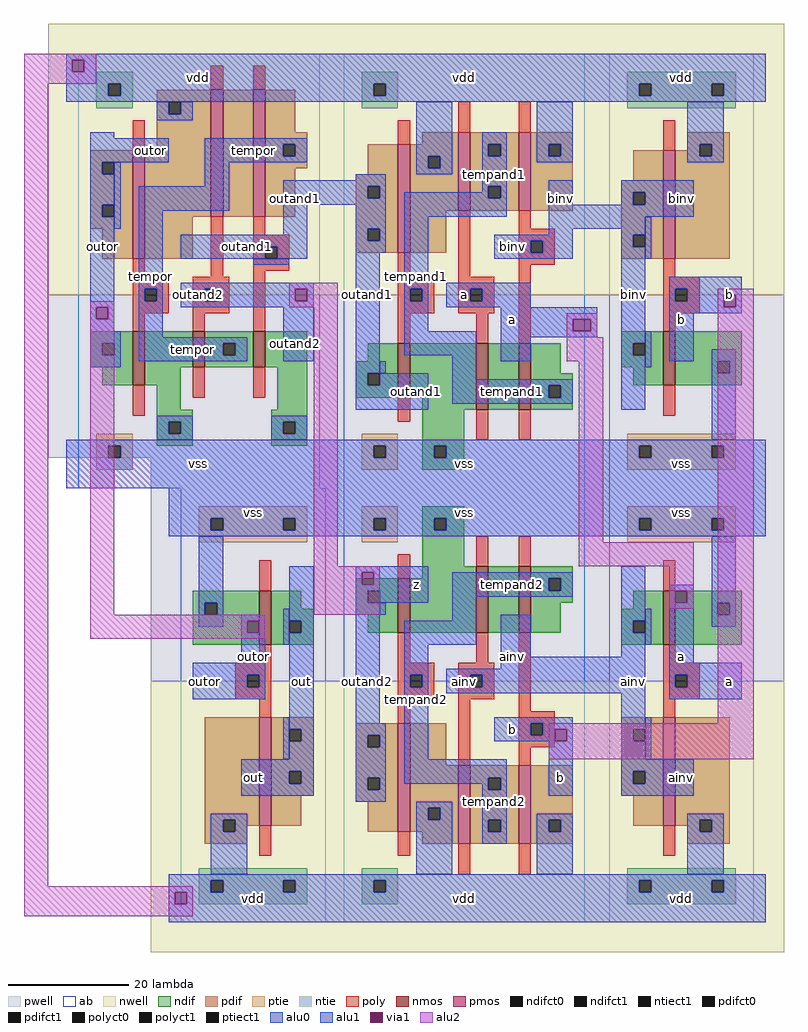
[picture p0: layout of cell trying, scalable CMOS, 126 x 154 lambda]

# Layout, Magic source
magic
tech scmos
<< ab >>
rect -39 5 1 77
rect -22 -67 2 5
rect 5 -67 45 77
rect 49 -67 73 77
<< nwell >>
rect -44 37 78 82
rect -27 -72 78 -27
<< pwell >>
rect -44 10 78 37
rect -27 -27 78 10
<< poly >>
rect -17 71 -15 75
rect -10 71 -8 75
rect -30 61 -28 66
rect 14 62 16 66
rect 24 64 26 69
rect 34 64 36 69
rect -30 40 -28 43
rect -17 40 -15 50
rect -10 47 -8 50
rect -10 45 -4 47
rect -10 43 -8 45
rect -6 43 -4 45
rect 58 61 60 66
rect -10 41 -4 43
rect -30 38 -24 40
rect -30 36 -28 38
rect -26 36 -24 38
rect -30 34 -24 36
rect -20 38 -14 40
rect -20 36 -18 38
rect -16 36 -14 38
rect -20 34 -14 36
rect -30 31 -28 34
rect -20 31 -18 34
rect -10 31 -8 41
rect 14 40 16 44
rect 24 40 26 51
rect 34 48 36 51
rect 34 46 40 48
rect 34 44 36 46
rect 38 44 40 46
rect 34 42 40 44
rect 14 38 20 40
rect 14 36 16 38
rect 18 36 20 38
rect 14 34 20 36
rect 24 38 30 40
rect 24 36 26 38
rect 28 36 30 38
rect 24 34 30 36
rect 14 29 16 34
rect 27 29 29 34
rect 34 29 36 42
rect 58 40 60 43
rect 58 38 64 40
rect 58 36 60 38
rect 62 36 64 38
rect 58 34 64 36
rect 58 31 60 34
rect -30 17 -28 22
rect -20 20 -18 25
rect -10 20 -8 25
rect 14 16 16 20
rect 27 13 29 18
rect 34 13 36 18
rect 58 17 60 22
rect -9 -12 -7 -7
rect 14 -10 16 -6
rect 27 -8 29 -3
rect 34 -8 36 -3
rect 58 -12 60 -7
rect -9 -24 -7 -21
rect -13 -26 -7 -24
rect -13 -28 -11 -26
rect -9 -28 -7 -26
rect -13 -30 -7 -28
rect -9 -33 -7 -30
rect 14 -24 16 -19
rect 27 -24 29 -19
rect 14 -26 20 -24
rect 14 -28 16 -26
rect 18 -28 20 -26
rect 14 -30 20 -28
rect 24 -26 30 -24
rect 24 -28 26 -26
rect 28 -28 30 -26
rect 24 -30 30 -28
rect 14 -34 16 -30
rect -9 -56 -7 -51
rect 24 -41 26 -30
rect 34 -32 36 -19
rect 58 -24 60 -21
rect 58 -26 64 -24
rect 58 -28 60 -26
rect 62 -28 64 -26
rect 58 -30 64 -28
rect 34 -34 40 -32
rect 58 -33 60 -30
rect 34 -36 36 -34
rect 38 -36 40 -34
rect 34 -38 40 -36
rect 34 -41 36 -38
rect 14 -56 16 -52
rect 24 -59 26 -54
rect 34 -59 36 -54
rect 58 -56 60 -51
<< ndif >>
rect -37 29 -30 31
rect -37 27 -35 29
rect -33 27 -30 29
rect -37 25 -30 27
rect -35 22 -30 25
rect -28 25 -20 31
rect -18 29 -10 31
rect -18 27 -15 29
rect -13 27 -10 29
rect -18 25 -10 27
rect -8 25 -1 31
rect 51 29 58 31
rect 9 26 14 29
rect -28 22 -22 25
rect -26 18 -22 22
rect -6 18 -1 25
rect 7 24 14 26
rect 7 22 9 24
rect 11 22 14 24
rect 7 20 14 22
rect 16 20 27 29
rect -26 16 -20 18
rect -26 14 -24 16
rect -22 14 -20 16
rect -26 12 -20 14
rect -7 16 -1 18
rect 18 18 27 20
rect 29 18 34 29
rect 36 24 41 29
rect 51 27 53 29
rect 55 27 58 29
rect 51 25 58 27
rect 36 22 43 24
rect 53 22 58 25
rect 60 26 71 31
rect 60 24 67 26
rect 69 24 71 26
rect 60 22 71 24
rect 36 20 39 22
rect 41 20 43 22
rect 36 18 43 20
rect -7 14 -5 16
rect -3 14 -1 16
rect -7 12 -1 14
rect 18 12 25 18
rect 18 10 20 12
rect 22 10 25 12
rect 18 8 25 10
rect 18 0 25 2
rect 18 -2 20 0
rect 22 -2 25 0
rect 18 -8 25 -2
rect 18 -10 27 -8
rect 7 -12 14 -10
rect -20 -14 -9 -12
rect -20 -16 -18 -14
rect -16 -16 -9 -14
rect -20 -21 -9 -16
rect -7 -15 -2 -12
rect 7 -14 9 -12
rect 11 -14 14 -12
rect -7 -17 0 -15
rect 7 -16 14 -14
rect -7 -19 -4 -17
rect -2 -19 0 -17
rect 9 -19 14 -16
rect 16 -19 27 -10
rect 29 -19 34 -8
rect 36 -10 43 -8
rect 36 -12 39 -10
rect 41 -12 43 -10
rect 36 -14 43 -12
rect 36 -19 41 -14
rect 53 -15 58 -12
rect 51 -17 58 -15
rect 51 -19 53 -17
rect 55 -19 58 -17
rect -7 -21 0 -19
rect 51 -21 58 -19
rect 60 -14 71 -12
rect 60 -16 67 -14
rect 69 -16 71 -14
rect 60 -21 71 -16
<< pdif >>
rect -26 69 -17 71
rect -26 67 -24 69
rect -22 67 -17 69
rect -26 61 -17 67
rect -37 59 -30 61
rect -37 57 -35 59
rect -33 57 -30 59
rect -37 52 -30 57
rect -37 50 -35 52
rect -33 50 -30 52
rect -37 48 -30 50
rect -35 43 -30 48
rect -28 50 -17 61
rect -15 50 -10 71
rect -8 64 -3 71
rect -8 62 -1 64
rect 18 62 24 64
rect -8 60 -5 62
rect -3 60 -1 62
rect -8 58 -1 60
rect -8 50 -3 58
rect 9 57 14 62
rect 7 55 14 57
rect 7 53 9 55
rect 11 53 14 55
rect -28 43 -20 50
rect 7 48 14 53
rect 7 46 9 48
rect 11 46 14 48
rect 7 44 14 46
rect 16 60 24 62
rect 16 58 19 60
rect 21 58 24 60
rect 16 51 24 58
rect 26 62 34 64
rect 26 60 29 62
rect 31 60 34 62
rect 26 55 34 60
rect 26 53 29 55
rect 31 53 34 55
rect 26 51 34 53
rect 36 62 43 64
rect 36 60 39 62
rect 41 60 43 62
rect 62 62 69 64
rect 62 61 64 62
rect 36 51 43 60
rect 53 56 58 61
rect 51 54 58 56
rect 51 52 53 54
rect 55 52 58 54
rect 16 44 22 51
rect 51 47 58 52
rect 51 45 53 47
rect 55 45 58 47
rect 51 43 58 45
rect 60 60 64 61
rect 66 60 69 62
rect 60 43 69 60
rect -18 -50 -9 -33
rect -18 -52 -15 -50
rect -13 -51 -9 -50
rect -7 -35 0 -33
rect -7 -37 -4 -35
rect -2 -37 0 -35
rect -7 -42 0 -37
rect -7 -44 -4 -42
rect -2 -44 0 -42
rect -7 -46 0 -44
rect 7 -36 14 -34
rect 7 -38 9 -36
rect 11 -38 14 -36
rect 7 -43 14 -38
rect 7 -45 9 -43
rect 11 -45 14 -43
rect -7 -51 -2 -46
rect 7 -47 14 -45
rect -13 -52 -11 -51
rect -18 -54 -11 -52
rect 9 -52 14 -47
rect 16 -41 22 -34
rect 51 -35 58 -33
rect 51 -37 53 -35
rect 55 -37 58 -35
rect 16 -48 24 -41
rect 16 -50 19 -48
rect 21 -50 24 -48
rect 16 -52 24 -50
rect 18 -54 24 -52
rect 26 -43 34 -41
rect 26 -45 29 -43
rect 31 -45 34 -43
rect 26 -50 34 -45
rect 26 -52 29 -50
rect 31 -52 34 -50
rect 26 -54 34 -52
rect 36 -50 43 -41
rect 51 -42 58 -37
rect 51 -44 53 -42
rect 55 -44 58 -42
rect 51 -46 58 -44
rect 36 -52 39 -50
rect 41 -52 43 -50
rect 53 -51 58 -46
rect 60 -50 69 -33
rect 60 -51 64 -50
rect 36 -54 43 -52
rect 62 -52 64 -51
rect 66 -52 69 -50
rect 62 -54 69 -52
<< alu1 >>
rect -41 76 75 77
rect -41 74 -40 76
rect -38 74 75 76
rect -41 72 75 74
rect -41 70 -34 72
rect -32 70 10 72
rect 12 70 54 72
rect 56 70 66 72
rect 68 70 75 72
rect -41 69 75 70
rect -37 63 -33 64
rect -37 59 -24 63
rect -37 57 -35 59
rect -37 52 -33 57
rect -37 50 -35 52
rect -37 35 -33 50
rect 7 56 12 57
rect -5 55 12 56
rect -5 53 9 55
rect 11 53 12 55
rect -5 52 12 53
rect -37 33 -36 35
rect -34 33 -33 35
rect -37 31 -33 33
rect -5 47 -1 52
rect -22 45 -1 47
rect -22 43 -8 45
rect -6 43 -1 45
rect 7 48 12 52
rect 7 46 9 48
rect 11 46 12 48
rect 7 44 12 46
rect 39 52 43 56
rect 51 54 63 56
rect 51 52 53 54
rect 55 52 63 54
rect 39 50 63 52
rect -37 29 -32 31
rect -37 27 -35 29
rect -33 27 -32 29
rect -37 25 -32 27
rect -22 38 0 39
rect -22 36 -18 38
rect -16 36 -3 38
rect -1 36 0 38
rect -22 35 0 36
rect -5 26 0 35
rect 7 24 11 44
rect 39 48 55 50
rect 39 47 43 48
rect 30 46 43 47
rect 30 44 36 46
rect 38 44 43 46
rect 30 43 43 44
rect 51 47 55 48
rect 51 45 53 47
rect 22 38 36 39
rect 22 36 26 38
rect 28 36 36 38
rect 22 35 36 36
rect 31 33 47 35
rect 31 31 43 33
rect 46 31 47 33
rect 7 22 9 24
rect 11 22 19 24
rect 7 18 19 22
rect 31 30 47 31
rect 31 26 36 30
rect 51 29 55 45
rect 59 38 71 40
rect 59 36 60 38
rect 62 37 71 38
rect 62 36 68 37
rect 59 35 68 36
rect 70 35 71 37
rect 59 34 71 35
rect 51 27 53 29
rect 51 18 55 27
rect 59 26 63 34
rect -41 12 75 13
rect -41 10 -34 12
rect -32 10 10 12
rect 12 10 20 12
rect 22 10 54 12
rect 56 10 66 12
rect 68 10 75 12
rect -41 5 75 10
rect -24 0 75 5
rect -24 -2 -17 0
rect -15 -2 -5 0
rect -3 -2 10 0
rect 12 -2 20 0
rect 22 -2 54 0
rect 56 -2 66 0
rect 68 -2 75 0
rect -24 -3 75 -2
rect -12 -17 -8 -16
rect -12 -19 -11 -17
rect -9 -19 -8 -17
rect -12 -24 -8 -19
rect -4 -17 0 -8
rect -2 -19 0 -17
rect -20 -26 -8 -24
rect -20 -28 -11 -26
rect -9 -28 -8 -26
rect -20 -30 -8 -28
rect -4 -35 0 -19
rect -2 -37 0 -35
rect -4 -40 0 -37
rect -12 -42 0 -40
rect -12 -44 -4 -42
rect -2 -44 0 -42
rect -12 -46 0 -44
rect 7 -9 19 -8
rect 7 -11 8 -9
rect 10 -11 19 -9
rect 7 -12 19 -11
rect 7 -14 9 -12
rect 11 -14 19 -12
rect 7 -34 11 -14
rect 31 -23 36 -16
rect 51 -17 55 -8
rect 59 -12 63 -11
rect 59 -14 60 -12
rect 62 -14 63 -12
rect 51 -19 53 -17
rect 51 -23 55 -19
rect 31 -25 55 -23
rect 7 -36 12 -34
rect 7 -38 9 -36
rect 11 -38 12 -36
rect 7 -43 12 -38
rect 7 -45 9 -43
rect 11 -45 12 -43
rect 22 -26 55 -25
rect 22 -28 26 -26
rect 28 -28 55 -26
rect 22 -29 55 -28
rect 30 -34 43 -33
rect 30 -36 36 -34
rect 38 -35 43 -34
rect 38 -36 40 -35
rect 30 -37 40 -36
rect 42 -37 43 -35
rect 7 -47 12 -45
rect 39 -46 43 -37
rect 51 -35 55 -29
rect 59 -24 63 -14
rect 59 -26 71 -24
rect 59 -28 60 -26
rect 62 -28 71 -26
rect 59 -30 71 -28
rect 51 -37 53 -35
rect 51 -40 55 -37
rect 51 -42 63 -40
rect 51 -44 53 -42
rect 55 -44 63 -42
rect 51 -46 63 -44
rect -24 -60 75 -59
rect -24 -62 -17 -60
rect -15 -62 -5 -60
rect -3 -62 10 -60
rect 12 -62 54 -60
rect 56 -62 66 -60
rect 68 -62 75 -60
rect -24 -64 -23 -62
rect -21 -64 75 -62
rect -24 -67 75 -64
<< alu2 >>
rect -48 76 -36 77
rect -48 74 -40 76
rect -38 74 -36 76
rect -48 72 -36 74
rect -48 -61 -44 72
rect -4 38 4 39
rect -4 36 -3 38
rect -1 36 4 38
rect -37 35 -33 36
rect -4 35 4 36
rect -37 33 -36 35
rect -34 33 -33 35
rect -37 -16 -33 33
rect 0 -8 4 35
rect 67 37 73 38
rect 67 35 68 37
rect 70 35 73 37
rect 42 33 47 34
rect 42 31 43 33
rect 46 31 47 33
rect 42 30 47 31
rect 42 26 48 30
rect 44 -4 48 26
rect 44 -8 63 -4
rect 0 -9 11 -8
rect 0 -11 8 -9
rect 10 -11 11 -9
rect 0 -16 11 -11
rect 59 -12 63 -8
rect 59 -14 60 -12
rect 62 -14 63 -12
rect 59 -15 63 -14
rect -37 -17 -8 -16
rect -37 -19 -11 -17
rect -9 -19 -8 -17
rect -37 -20 -8 -19
rect 67 -34 73 35
rect 39 -35 73 -34
rect 39 -37 40 -35
rect 42 -37 73 -35
rect 39 -40 73 -37
rect -48 -62 -20 -61
rect -48 -64 -23 -62
rect -21 -64 -20 -62
rect -48 -66 -20 -64
<< ptie >>
rect -36 12 -30 14
rect 8 12 14 14
rect -36 10 -34 12
rect -32 10 -30 12
rect -36 8 -30 10
rect 8 10 10 12
rect 12 10 14 12
rect 8 8 14 10
rect 52 12 70 14
rect 52 10 54 12
rect 56 10 66 12
rect 68 10 70 12
rect 52 8 70 10
rect -19 0 -1 2
rect -19 -2 -17 0
rect -15 -2 -5 0
rect -3 -2 -1 0
rect -19 -4 -1 -2
rect 8 0 14 2
rect 8 -2 10 0
rect 12 -2 14 0
rect 8 -4 14 -2
rect 52 0 70 2
rect 52 -2 54 0
rect 56 -2 66 0
rect 68 -2 70 0
rect 52 -4 70 -2
<< ntie >>
rect -36 72 -30 74
rect -36 70 -34 72
rect -32 70 -30 72
rect 8 72 14 74
rect -36 68 -30 70
rect 8 70 10 72
rect 12 70 14 72
rect 8 68 14 70
rect 52 72 70 74
rect 52 70 54 72
rect 56 70 66 72
rect 68 70 70 72
rect 52 68 70 70
rect -19 -60 -1 -58
rect -19 -62 -17 -60
rect -15 -62 -5 -60
rect -3 -62 -1 -60
rect -19 -64 -1 -62
rect 8 -60 14 -58
rect 8 -62 10 -60
rect 12 -62 14 -60
rect 8 -64 14 -62
rect 52 -60 70 -58
rect 52 -62 54 -60
rect 56 -62 66 -60
rect 68 -62 70 -60
rect 52 -64 70 -62
<< nmos >>
rect -30 22 -28 31
rect -20 25 -18 31
rect -10 25 -8 31
rect 14 20 16 29
rect 27 18 29 29
rect 34 18 36 29
rect 58 22 60 31
rect -9 -21 -7 -12
rect 14 -19 16 -10
rect 27 -19 29 -8
rect 34 -19 36 -8
rect 58 -21 60 -12
<< pmos >>
rect -30 43 -28 61
rect -17 50 -15 71
rect -10 50 -8 71
rect 14 44 16 62
rect 24 51 26 64
rect 34 51 36 64
rect 58 43 60 61
rect -9 -51 -7 -33
rect 14 -52 16 -34
rect 24 -54 26 -41
rect 34 -54 36 -41
rect 58 -51 60 -33
<< polyct0 >>
rect -28 36 -26 38
rect 16 36 18 38
rect 16 -28 18 -26
<< polyct1 >>
rect -8 43 -6 45
rect -18 36 -16 38
rect 36 44 38 46
rect 26 36 28 38
rect 60 36 62 38
rect -11 -28 -9 -26
rect 26 -28 28 -26
rect 60 -28 62 -26
rect 36 -36 38 -34
<< ndifct0 >>
rect -15 27 -13 29
rect -24 14 -22 16
rect 67 24 69 26
rect 39 20 41 22
rect -5 14 -3 16
rect -18 -16 -16 -14
rect 39 -12 41 -10
rect 67 -16 69 -14
<< ndifct1 >>
rect -35 27 -33 29
rect 9 22 11 24
rect 53 27 55 29
rect 20 10 22 12
rect 20 -2 22 0
rect 9 -14 11 -12
rect -4 -19 -2 -17
rect 53 -19 55 -17
<< ntiect1 >>
rect -34 70 -32 72
rect 10 70 12 72
rect 54 70 56 72
rect 66 70 68 72
rect -17 -62 -15 -60
rect -5 -62 -3 -60
rect 10 -62 12 -60
rect 54 -62 56 -60
rect 66 -62 68 -60
<< ptiect1 >>
rect -34 10 -32 12
rect 10 10 12 12
rect 54 10 56 12
rect 66 10 68 12
rect -17 -2 -15 0
rect -5 -2 -3 0
rect 10 -2 12 0
rect 54 -2 56 0
rect 66 -2 68 0
<< pdifct0 >>
rect -24 67 -22 69
rect -5 60 -3 62
rect 19 58 21 60
rect 29 60 31 62
rect 29 53 31 55
rect 39 60 41 62
rect 64 60 66 62
rect -15 -52 -13 -50
rect 19 -50 21 -48
rect 29 -45 31 -43
rect 29 -52 31 -50
rect 39 -52 41 -50
rect 64 -52 66 -50
<< pdifct1 >>
rect -35 57 -33 59
rect -35 50 -33 52
rect 9 53 11 55
rect 9 46 11 48
rect 53 52 55 54
rect 53 45 55 47
rect -4 -37 -2 -35
rect -4 -44 -2 -42
rect 9 -38 11 -36
rect 9 -45 11 -43
rect 53 -37 55 -35
rect 53 -44 55 -42
<< alu0 >>
rect -26 67 -24 69
rect -22 67 -20 69
rect -26 66 -20 67
rect -18 62 -1 63
rect -18 60 -5 62
rect -3 60 -1 62
rect -18 59 -1 60
rect 17 60 23 69
rect -33 48 -32 59
rect -18 55 -14 59
rect 17 58 19 60
rect 21 58 23 60
rect 17 57 23 58
rect 28 62 32 64
rect 28 60 29 62
rect 31 60 32 62
rect -29 51 -14 55
rect 28 55 32 60
rect 37 62 43 69
rect 37 60 39 62
rect 41 60 43 62
rect 37 59 43 60
rect 62 62 68 69
rect 62 60 64 62
rect 66 60 68 62
rect 62 59 68 60
rect 28 54 29 55
rect -29 38 -25 51
rect 15 53 29 54
rect 31 53 32 55
rect 15 50 32 53
rect -10 42 -4 43
rect -29 36 -28 38
rect -26 36 -25 38
rect -29 30 -25 36
rect -29 29 -11 30
rect -29 27 -15 29
rect -13 27 -11 29
rect -29 26 -11 27
rect 15 38 19 50
rect 15 36 16 38
rect 18 36 19 38
rect 15 31 19 36
rect 15 27 27 31
rect 11 24 12 26
rect 23 23 27 27
rect 55 43 56 50
rect 23 22 43 23
rect 23 20 39 22
rect 41 20 43 22
rect 23 19 43 20
rect 55 25 56 31
rect 66 26 70 28
rect 66 24 67 26
rect 69 24 70 26
rect -26 16 -20 17
rect -26 14 -24 16
rect -22 14 -20 16
rect -26 13 -20 14
rect -7 16 -1 17
rect -7 14 -5 16
rect -3 14 -1 16
rect -7 13 -1 14
rect 66 13 70 24
rect -19 -14 -15 -3
rect -19 -16 -18 -14
rect -16 -16 -15 -14
rect -19 -18 -15 -16
rect -5 -21 -4 -15
rect -5 -40 -4 -33
rect 23 -10 43 -9
rect 23 -12 39 -10
rect 41 -12 43 -10
rect 23 -13 43 -12
rect 11 -16 12 -14
rect 23 -17 27 -13
rect 15 -21 27 -17
rect 15 -26 19 -21
rect 55 -21 56 -15
rect 15 -28 16 -26
rect 18 -28 19 -26
rect 15 -40 19 -28
rect 15 -43 32 -40
rect 15 -44 29 -43
rect 28 -45 29 -44
rect 31 -45 32 -43
rect 17 -48 23 -47
rect -17 -50 -11 -49
rect -17 -52 -15 -50
rect -13 -52 -11 -50
rect -17 -59 -11 -52
rect 17 -50 19 -48
rect 21 -50 23 -48
rect 17 -59 23 -50
rect 28 -50 32 -45
rect 66 -14 70 -3
rect 66 -16 67 -14
rect 69 -16 70 -14
rect 66 -18 70 -16
rect 55 -40 56 -33
rect 28 -52 29 -50
rect 31 -52 32 -50
rect 28 -54 32 -52
rect 37 -50 43 -49
rect 37 -52 39 -50
rect 41 -52 43 -50
rect 37 -59 43 -52
rect 62 -50 68 -49
rect 62 -52 64 -50
rect 66 -52 68 -50
rect 62 -59 68 -52
<< via1 >>
rect -40 74 -38 76
rect -36 33 -34 35
rect -3 36 -1 38
rect 43 31 46 33
rect 68 35 70 37
rect -11 -19 -9 -17
rect 8 -11 10 -9
rect 60 -14 62 -12
rect 40 -37 42 -35
rect -23 -64 -21 -62
<< labels >>
rlabel alu1 25 9 25 9 6 vss
rlabel alu1 25 37 25 37 6 a
rlabel alu1 33 33 33 33 6 a
rlabel alu1 25 73 25 73 6 vdd
rlabel alu1 41 53 41 53 1 binv
rlabel alu1 33 45 33 45 1 binv
rlabel alu0 17 40 17 40 1 tempand1
rlabel alu1 9 37 9 37 1 outand1
rlabel alu0 33 21 33 21 1 tempand1
rlabel alu1 17 21 17 21 1 outand1
rlabel alu0 30 57 30 57 1 tempand1
rlabel alu1 17 -11 17 -11 8 z
rlabel alu1 25 1 25 1 8 vss
rlabel alu1 33 -35 33 -35 8 b
rlabel alu1 25 -63 25 -63 8 vdd
rlabel alu1 41 -43 41 -43 8 b
rlabel alu0 33 -11 33 -11 1 tempand2
rlabel alu0 17 -30 17 -30 1 tempand2
rlabel alu0 30 -47 30 -47 1 tempand2
rlabel alu1 9 -27 9 -27 1 outand2
rlabel alu1 33 -23 33 -23 1 ainv
rlabel alu1 25 -27 25 -27 1 ainv
rlabel alu1 61 9 61 9 6 vss
rlabel alu1 61 73 61 73 6 vdd
rlabel alu1 61 1 61 1 8 vss
rlabel alu1 61 -23 61 -23 8 a
rlabel alu1 61 -63 61 -63 8 vdd
rlabel alu1 69 -27 69 -27 8 a
rlabel alu1 69 37 69 37 1 b
rlabel alu1 61 33 61 33 1 b
rlabel alu1 61 53 61 53 1 binv
rlabel alu1 53 37 53 37 1 binv
rlabel alu1 61 -43 61 -43 1 ainv
rlabel alu1 53 -27 53 -27 1 ainv
rlabel alu1 -19 9 -19 9 6 vss
rlabel alu1 -19 73 -19 73 6 vdd
rlabel alu1 -3 53 -3 53 1 outand1
rlabel alu1 -11 45 -11 45 1 outand1
rlabel alu1 -19 45 -19 45 1 outand1
rlabel alu0 -10 61 -10 61 1 tempor
rlabel alu0 -27 40 -27 40 1 tempor
rlabel alu0 -20 28 -20 28 1 tempor
rlabel alu1 -27 61 -27 61 1 outor
rlabel alu1 -35 45 -35 45 1 outor
rlabel alu1 -19 37 -19 37 1 outand2
rlabel alu1 -11 37 -11 37 1 outand2
rlabel alu1 -3 29 -3 29 1 outand2
rlabel alu1 -10 1 -10 1 2 vss
rlabel alu1 -10 -63 -10 -63 2 vdd
rlabel alu1 -18 -27 -18 -27 1 outor
rlabel alu1 -10 -23 -10 -23 1 outor
rlabel alu1 -10 -43 -10 -43 1 out
rlabel alu1 -2 -27 -2 -27 1 out
<< end >>
